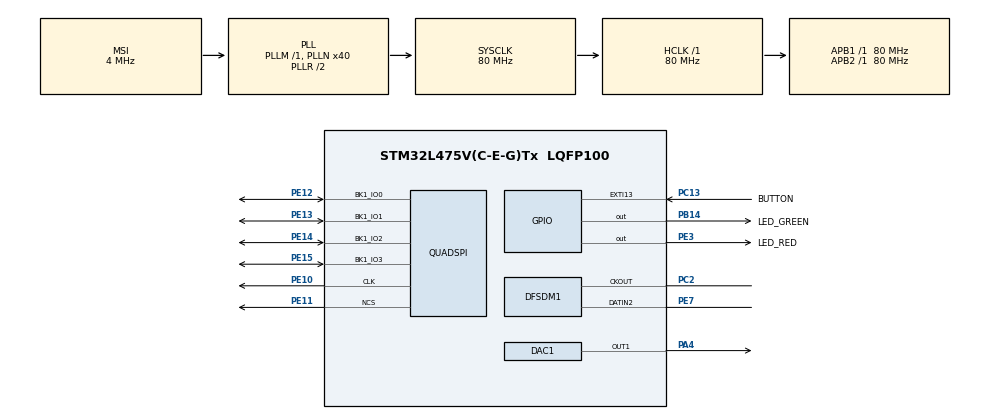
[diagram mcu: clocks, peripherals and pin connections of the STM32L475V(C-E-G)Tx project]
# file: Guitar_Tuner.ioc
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DAC1.DAC_Trigger-DAC_OUT1=DAC_TRIGGER_T2_TRGO
DFSDM1.Divider=100
DFSDM1.DmaMode_reg_FIL0=ENABLE
DFSDM1.FastMode_reg_FIL0=ENABLE
DFSDM1.Filter_regChannel_FIL0=DFSDM_CHANNEL_2
DFSDM1.Fosr_FIL0=80
DFSDM1.SincOrder_FIL0=DFSDM_FILTER_SINC3_ORDER
Dma.DAC_CH1.0.Direction=DMA_MEMORY_TO_PERIPH
Dma.DAC_CH1.0.Instance=DMA1_Channel3
Dma.DAC_CH1.0.MemDataAlignment=DMA_MDATAALIGN_HALFWORD
Dma.DAC_CH1.0.MemInc=DMA_MINC_ENABLE
Dma.DAC_CH1.0.Mode=DMA_CIRCULAR
Dma.DAC_CH1.0.PeriphDataAlignment=DMA_PDATAALIGN_HALFWORD
Dma.DAC_CH1.0.PeriphInc=DMA_PINC_DISABLE
Dma.DAC_CH1.0.Priority=DMA_PRIORITY_HIGH
Dma.DFSDM1_FLT0.1.Direction=DMA_PERIPH_TO_MEMORY
Dma.DFSDM1_FLT0.1.Instance=DMA1_Channel4
Dma.DFSDM1_FLT0.1.MemDataAlignment=DMA_MDATAALIGN_WORD
Dma.DFSDM1_FLT0.1.MemInc=DMA_MINC_ENABLE
Dma.DFSDM1_FLT0.1.Mode=DMA_NORMAL
Dma.DFSDM1_FLT0.1.PeriphDataAlignment=DMA_PDATAALIGN_WORD
Dma.DFSDM1_FLT0.1.PeriphInc=DMA_PINC_DISABLE
Dma.DFSDM1_FLT0.1.Priority=DMA_PRIORITY_HIGH
Dma.Request0=DAC_CH1
Dma.Request1=DFSDM1_FLT0
Mcu.Family=STM32L4
Mcu.Name=STM32L475V(C-E-G)Tx
Mcu.Package=LQFP100
NVIC.DMA1_Channel3_IRQn=true\:0\:0\:false\:false\:true\:false\:true
NVIC.DMA1_Channel4_IRQn=true\:0\:0\:false\:false\:true\:false\:true
NVIC.EXTI15_10_IRQn=true\:0\:0\:false\:false\:true\:true\:true
NVIC.PriorityGroup=NVIC_PRIORITYGROUP_4
NVIC.TIM2_IRQn=true\:0\:0\:false\:false\:true\:true\:true
PA13\ (JTMS-SWDIO).Signal=SYS_JTMS-SWDIO
PA4.Signal=COMP_DAC11_group
PB14.GPIO_Label=LED_GREEN
PB14.Signal=GPIO_Output
PB3\ (JTDO-TRACESWO).Signal=SYS_JTDO-SWO
PC13.GPIO_Label=BUTTON
PC13.Signal=GPXTI13
PC2.Signal=S_CKOUTDFSDM1
PE10.Mode=Single Bank
PE10.Signal=QUADSPI_CLK
PE11.Mode=Single Bank
PE11.Signal=QUADSPI_NCS
PE12.Mode=Single Bank
PE12.Signal=QUADSPI_BK1_IO0
PE13.Mode=Single Bank
PE13.Signal=QUADSPI_BK1_IO1
PE14.Mode=Single Bank
PE14.Signal=QUADSPI_BK1_IO2
PE15.Mode=Single Bank
PE15.Signal=QUADSPI_BK1_IO3
PE3.GPIO_Label=LED_RED
PE3.Signal=GPIO_Output
PE7.Signal=S_DATAIN2DFSDM1
ProjectManager.HeapSize=0x200
ProjectManager.StackSize=0x400
ProjectManager.TargetToolchain=STM32CubeIDE
RCC.ADCFreq_Value=48000000
RCC.AHBFreq_Value=80000000
RCC.APB1Freq_Value=80000000
RCC.APB1TimFreq_Value=80000000
RCC.APB2Freq_Value=80000000
RCC.APB2TimFreq_Value=80000000
RCC.CortexFreq_Value=80000000
RCC.DFSDMCLockSelection=RCC_DFSDM1CLKSOURCE_SYSCLK
RCC.HCLKFreq_Value=80000000
RCC.HSE_VALUE=8000000
RCC.HSI_VALUE=16000000
RCC.LSE_VALUE=32768
RCC.MSI_VALUE=4000000
RCC.PLLN=40
RCC.PLLSAI1N=24
RCC.SYSCLKFreq_VALUE=80000000
RCC.SYSCLKSource=RCC_SYSCLKSOURCE_PLLCLK
RCC.USBFreq_Value=48000000
RCC.VCOOutputFreq_Value=160000000
SH.COMP_DAC11_group.0=DAC1_OUT1,DAC_OUT1
SH.S_CKOUTDFSDM1.0=DFSDM1_CKOUT,PDM_SPI_input_from_ch2_and_internal_clock
SH.S_CKOUTDFSDM1.1=DFSDM1_CKOUT,CKOUT
SH.S_DATAIN2DFSDM1.0=DFSDM1_DATIN2,PDM_SPI_input_from_ch2_and_internal_clock
TIM2.Period=1814
TIM2.TIM_MasterOutputTrigger=TIM_TRGO_UPDATE
VP_TIM2_VS_ClockSourceINT.Mode=Internal
board=B-L475E-IOT01A1

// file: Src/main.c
/* USER CODE BEGIN Header */
/**
  ******************************************************************************
  * @file           : main.c
  * @brief          : Main program body
  ******************************************************************************
  * @attention
  *
  * <h2><center>&copy; Copyright (c) 2021 STMicroelectronics.
  * All rights reserved.</center></h2>
  *
  * This software component is licensed by ST under BSD 3-Clause license,
  * the "License"; You may not use this file except in compliance with the
  * License. You may obtain a copy of the License at:
  *                        opensource.org/licenses/BSD-3-Clause
  *
  ******************************************************************************
  */
/* USER CODE END Header */
#include "main.h"

/* USER CODE BEGIN Includes */
#include "stm32l475e_iot01_qspi.h"
#define ARM_MATH_CM4
#include "arm_math.h"
#include "OPTIM.h"

/* USER CODE END Includes */

/* USER CODE BEGIN PD */
#define ITM_Port32(n) (*((volatile unsigned long *)(0xE0000000+4*n)))
/* USER CODE END PD */

DAC_HandleTypeDef hdac1;
DMA_HandleTypeDef hdma_dac_ch1;

DFSDM_Filter_HandleTypeDef hdfsdm1_filter0;
DFSDM_Channel_HandleTypeDef hdfsdm1_channel2;
DMA_HandleTypeDef hdma_dfsdm1_flt0;

QSPI_HandleTypeDef hqspi;

TIM_HandleTypeDef htim2;

/* USER CODE BEGIN PV */

// ---------------- IMPORTANT GLOBAL VARIABLES ------------------------------------------
uint16_t f_s_DAC = 44100; // HZ, sampling frequency for values TO the DAC SPEAKER
uint16_t f_s_mic = 10000; // Hz, sampling frequency for values FROM the DFSDM microphone

// states for game
uint8_t gameState = 0;			// 0: game init & generating tones, 1: playing tones for player/ waiting for player choice,
								// 2: recording from mic, 3: ready for DFT, 4: computing DFT and analysis, 5: report win/loss

#define numTones 8
#define micSamples 10000
float32_t frequencies[8] = {261.63, 293.66, 329.63, 349.23, 392.00, 440.00, 493.88, 523.25}; // C4, D4, E4, F4, G4, A4, B4, C5

uint32_t flashStartAddr = (uint32_t) 0x00000000;
uint16_t sineBuffer[22050]; // buffer in RAM to store 0.5s of wave values at a time during wave generation and to load DAC
uint32_t currentTone = 0;
uint32_t count1 = 0; //since notes are being played at 0.5s, when reading the notes, only change note after x amount counts, e.g change when count == 4, is 2 sec
uint32_t count2 = 0;
int32_t micBuffer[micSamples];
uint16_t counterLED = 0;
uint16_t counterLEDMax = 8820;	// for flashing every 0.2s with TIM2 which is at f=44.1kHz

// for DFT
uint32_t fft_buffer_size = 2048;
uint32_t fft_sampling_rate = 10000;
int frequency = 0;
struct str{
	float value;
	uint16_t index;
};
float allowedError = 0.2;

// other setup notes:
// BUTTON : blue push button
// LED_GREEN: active HIGH, so GPIO_SET turns it ON
// LED_RED: active LOW, so GPIO_RESET turns it ON
// DAC Speaker: f_s = 44.1kHz, circular DMA with half-word (takes 16-bit array inputs with 12 bit resolution). Use this to output tones for the user to choose from
// DFSDM mic: f_s = 10kHz, NORMAL DMA with word input (captures 32 bits of input from mic. We need to RSR by 20bits to scale to 12 bits then pass to FFT?)

/* USER CODE END PV */

void SystemClock_Config(void);
static void MX_GPIO_Init(void);
static void MX_DMA_Init(void);
static void MX_DAC1_Init(void);
static void MX_TIM2_Init(void);
static void MX_QUADSPI_Init(void);
static void MX_DFSDM1_Init(void);
/* USER CODE BEGIN PFP */
void readFirstHalfFromFlash(void);
void readSecondHalfFromFlash(void);
void showPlayerWon(void);
void showPlayerLost(void);
void get_frequency(void);
int cmp(const void *a, const void *b);

/* USER CODE END PFP */

/* USER CODE BEGIN 0 */
int cmp(const void *a, const void *b)
{
    struct str *a1 = (struct str *)a;
    struct str *a2 = (struct str *)b;
    if ((*a1).value > (*a2).value)
        return -1;
    else if ((*a1).value < (*a2).value)
        return 1;
    else
        return 0;
}

void get_frequency(void){
	uint32_t fft_sampling_rate = 2048;

	float mic_buffer_float[fft_buffer_size];
	for (uint16_t i = 0; i < fft_buffer_size; i++) {
		mic_buffer_float[i] = (micBuffer[i+fft_buffer_size]);
	}

	int frequency1 = 500;
	int amplitude1 = 100;
	int frequency2 = 123;
	int amplitude2 = 90;
	float ts = (float) 1/fft_sampling_rate;
	for (int j = 0; j < fft_buffer_size; j++){
		mic_buffer_float[j] = (amplitude1*(arm_sin_f32(2*M_PI*frequency1*ts*j)));
		mic_buffer_float[j] += (amplitude2*(arm_sin_f32(2*M_PI*frequency2*ts*j)));
	}

	float fft_buffer_out[fft_buffer_size];
	arm_rfft_fast_instance_f32 fft_handler;
	arm_rfft_fast_init_f32(&fft_handler, fft_buffer_size);
	arm_rfft_fast_f32(&fft_handler, mic_buffer_float, fft_buffer_out, 0);

	int max = -1;
	int max2 = -1;
	int max_index = 0;
	int max2_index = 0;
	int N = fft_buffer_size;

	int mean = 0;
	for (uint16_t i = 0; i < fft_buffer_size; i++) {
		mean += (micBuffer[i+fft_buffer_size]);
	}
	mean = mean /(int) fft_buffer_size;
	int dc_offset = 0; //(int)(20*log10f(mean))*(mean);

	int frequency_point = 0;
	int magnitudes[fft_buffer_size/2];

	for (int i=1; i<N; i=i+2) {

		int real = fft_buffer_out[i];
		int imag = fft_buffer_out[i+1];
		int magnitude = sqrt(real*real+imag*imag);
		magnitude = (int)(20*log10f(magnitude)) - dc_offset;
		if (magnitude<0) magnitude = 0;

		magnitudes[frequency_point] = magnitude;
		frequency_point ++;

	}

	ITM_Port32(31) = 1;
  	for (uint32_t i = 0; i < 1000; i++){
		for (int i = 0 ; i < N/2; i++){
			int mag = magnitudes[i];
			if (mag > max2){
				max2_index = i;
				max2 = mag;
			}
//			if (magnitude < max && magnitude > max2){
//				max2_index = frequency_point;
//				max2 = magnitude;
//			}
		}
  	}
  	ITM_Port32(31) = 2;

  	for (uint32_t i = 0; i < 1000; i++)
  		asmMax(&magnitudes, N/2, &max, &max_index);

  	ITM_Port32(31) = 3;

	float T = fft_buffer_size / fft_sampling_rate;
	float frequencies[N/2];
	for (int i = 0 ; i < N/2 ; i ++){
		frequencies[i] = (float) i / T;
	}

	float max_f  = frequencies[max_index];
	float max2_f = frequencies[max2_index];

	frequency = max_f;
}

/* USER CODE END 0 */

int main(void)
{

  /* MCU Configuration--------------------------------------------------------*/

  /* Reset of all peripherals, Initializes the Flash interface and the Systick. */
  HAL_Init();

  /* Configure the system clock */
  SystemClock_Config();

  /* Initialize all configured peripherals */
  MX_GPIO_Init();
  MX_DMA_Init();
  MX_DFSDM1_Init();
  MX_DAC1_Init();
  MX_TIM2_Init();
  MX_QUADSPI_Init();

  /* USER CODE BEGIN 2 */

  // -------------- Initial stage: GAME SETUP ---------------------------------

  // red LED is initialized as ON (active low), so reset it back to OFF
  HAL_GPIO_WritePin(LED_RED_GPIO_Port, LED_RED_Pin, GPIO_PIN_SET);

  // start TIM2 with global interrupts enabled
  	HAL_TIM_Base_Start_IT(&htim2);

  	// initialize hqspi flash
  	  if (BSP_QSPI_Init() != QSPI_OK) {
  		  Error_Handler();
  	  }

  	  // generate full octave (C4 to C5)

  	  uint16_t maxVal = (uint16_t) 4095 * 2 / 3;			// 12 bit resolution has range [0, 4095], we scale this to 2/3 of the range
  	  uint16_t amplitude = maxVal/2;
  	  float32_t f, omega;

  	  // erase all blocks in flash that we need
  	  uint32_t sizeNeeded = numTones * f_s_DAC; // Each block is 64kB. we need to store 8 tones * (44100/2) samples per tone * 2bytes/sample)
  	  for (uint32_t i = 0; i < sizeNeeded; i += 64000) {
  		  if (BSP_QSPI_Erase_Block(flashStartAddr + i) != QSPI_OK) {
  			  Error_Handler();
  		  }
  	  }

  	  // create 0.5s of each tone in RAM buffer and write to flash
  	  for (uint8_t i = 0; i < numTones; i++) {
  		  omega = 2 * 3.14159265 * (frequencies[i]/f_s_DAC); 		// omega = 2pi*f_rel where f_rel = f_wave / f_sampling
  		  for(uint16_t counter = 0; counter < f_s_DAC/2 ; counter++) {
  			  sineBuffer[counter] = (uint16_t) (amplitude * (arm_sin_f32(omega*counter) + 1));
  		  }

  		  	  // write tone to flash at the appropriate address
  			  // note: size for entire 0.5seconds is (f_s/2) samples x 2 bytes per sample = f_sample bytes
  			  // so, we increment flashStartAddr by i*f_s each time
  		  if (BSP_QSPI_Write((uint8_t *) sineBuffer, (uint32_t) flashStartAddr + i*f_s_DAC, sizeof(sineBuffer)) != QSPI_OK) {
  			  Error_Handler();
  		  }
  	  }

  	  // --------- 1st stage: play tones for player to choose from --------------
  	  // start DAC with first values from flash
  	  gameState = 1;
  	  readFirstHalfFromFlash();
  	  HAL_DAC_Start_DMA(&hdac1, DAC_CHANNEL_1, sineBuffer, f_s_DAC/2, DAC_ALIGN_12B_R);

  /* USER CODE END 2 */

  /* Infinite loop */
  /* USER CODE BEGIN WHILE */
  while (1)
  {

	  // check if we are ready for DFT conversion
	  if (gameState == 3) {
		  // start DFT Conversion
		  gameState = 4;

		  // NOTE: this is to do DFT. however if we run it, the RAM buffers dont work anymore and we cannot read from Flash. need fix.
		  get_frequency();

		  // DFT is complete
		  gameState = 5;

	  } else if (gameState == 5) {
		  // once DFT is complete, check if player has won or lost depending on the frequency error
		  float targetFrequency = frequencies[(int) (currentTone / (f_s_DAC/2))];
		  int lowerBound =  (int) ((1.0-allowedError)*targetFrequency);
		  int higherBound = (int) ((1.0+allowedError)*targetFrequency);

		  if (frequency < higherBound && frequency > lowerBound) {
			  showPlayerWon();
		  } else {
			  showPlayerLost();
		  }

		  // change state to game complete
		  gameState = 6;

	  }

    /* USER CODE END WHILE */

  }
}

void SystemClock_Config(void)
{
  RCC_OscInitTypeDef RCC_OscInitStruct = {0};
  RCC_ClkInitTypeDef RCC_ClkInitStruct = {0};

  /** Configure the main internal regulator output voltage
  */
  if (HAL_PWREx_ControlVoltageScaling(PWR_REGULATOR_VOLTAGE_SCALE1) != HAL_OK)
  {
    Error_Handler();
  }
  /** Initializes the RCC Oscillators according to the specified parameters
  * in the RCC_OscInitTypeDef structure.
  */
  RCC_OscInitStruct.OscillatorType = RCC_OSCILLATORTYPE_MSI;
  RCC_OscInitStruct.MSIState = RCC_MSI_ON;
  RCC_OscInitStruct.MSICalibrationValue = 0;
  RCC_OscInitStruct.MSIClockRange = RCC_MSIRANGE_6;
  RCC_OscInitStruct.PLL.PLLState = RCC_PLL_ON;
  RCC_OscInitStruct.PLL.PLLSource = RCC_PLLSOURCE_MSI;
  RCC_OscInitStruct.PLL.PLLM = 1;
  RCC_OscInitStruct.PLL.PLLN = 40;
  RCC_OscInitStruct.PLL.PLLP = RCC_PLLP_DIV7;
  RCC_OscInitStruct.PLL.PLLQ = RCC_PLLQ_DIV2;
  RCC_OscInitStruct.PLL.PLLR = RCC_PLLR_DIV2;
  if (HAL_RCC_OscConfig(&RCC_OscInitStruct) != HAL_OK)
  {
    Error_Handler();
  }
  /** Initializes the CPU, AHB and APB buses clocks
  */
  RCC_ClkInitStruct.ClockType = RCC_CLOCKTYPE_HCLK|RCC_CLOCKTYPE_SYSCLK
                              |RCC_CLOCKTYPE_PCLK1|RCC_CLOCKTYPE_PCLK2;
  RCC_ClkInitStruct.SYSCLKSource = RCC_SYSCLKSOURCE_PLLCLK;
  RCC_ClkInitStruct.AHBCLKDivider = RCC_SYSCLK_DIV1;
  RCC_ClkInitStruct.APB1CLKDivider = RCC_HCLK_DIV1;
  RCC_ClkInitStruct.APB2CLKDivider = RCC_HCLK_DIV1;

  if (HAL_RCC_ClockConfig(&RCC_ClkInitStruct, FLASH_LATENCY_4) != HAL_OK)
  {
    Error_Handler();
  }
}

static void MX_DAC1_Init(void)
{

  DAC_ChannelConfTypeDef sConfig = {0};

  /** DAC Initialization
  */
  hdac1.Instance = DAC1;
  if (HAL_DAC_Init(&hdac1) != HAL_OK)
  {
    Error_Handler();
  }
  /** DAC channel OUT1 config
  */
  sConfig.DAC_SampleAndHold = DAC_SAMPLEANDHOLD_DISABLE;
  sConfig.DAC_Trigger = DAC_TRIGGER_T2_TRGO;
  sConfig.DAC_OutputBuffer = DAC_OUTPUTBUFFER_ENABLE;
  sConfig.DAC_ConnectOnChipPeripheral = DAC_CHIPCONNECT_DISABLE;
  sConfig.DAC_UserTrimming = DAC_TRIMMING_FACTORY;
  if (HAL_DAC_ConfigChannel(&hdac1, &sConfig, DAC_CHANNEL_1) != HAL_OK)
  {
    Error_Handler();
  }

}

static void MX_DFSDM1_Init(void)
{

  hdfsdm1_filter0.Instance = DFSDM1_Filter0;
  hdfsdm1_filter0.Init.RegularParam.Trigger = DFSDM_FILTER_SW_TRIGGER;
  hdfsdm1_filter0.Init.RegularParam.FastMode = ENABLE;
  hdfsdm1_filter0.Init.RegularParam.DmaMode = ENABLE;
  hdfsdm1_filter0.Init.FilterParam.SincOrder = DFSDM_FILTER_SINC3_ORDER;
  hdfsdm1_filter0.Init.FilterParam.Oversampling = 100;
  hdfsdm1_filter0.Init.FilterParam.IntOversampling = 1;
  if (HAL_DFSDM_FilterInit(&hdfsdm1_filter0) != HAL_OK)
  {
    Error_Handler();
  }
  hdfsdm1_channel2.Instance = DFSDM1_Channel2;
  hdfsdm1_channel2.Init.OutputClock.Activation = ENABLE;
  hdfsdm1_channel2.Init.OutputClock.Selection = DFSDM_CHANNEL_OUTPUT_CLOCK_SYSTEM;
  hdfsdm1_channel2.Init.OutputClock.Divider = 80;
  hdfsdm1_channel2.Init.Input.Multiplexer = DFSDM_CHANNEL_EXTERNAL_INPUTS;
  hdfsdm1_channel2.Init.Input.DataPacking = DFSDM_CHANNEL_STANDARD_MODE;
  hdfsdm1_channel2.Init.Input.Pins = DFSDM_CHANNEL_SAME_CHANNEL_PINS;
  hdfsdm1_channel2.Init.SerialInterface.Type = DFSDM_CHANNEL_SPI_RISING;
  hdfsdm1_channel2.Init.SerialInterface.SpiClock = DFSDM_CHANNEL_SPI_CLOCK_INTERNAL;
  hdfsdm1_channel2.Init.Awd.FilterOrder = DFSDM_CHANNEL_FASTSINC_ORDER;
  hdfsdm1_channel2.Init.Awd.Oversampling = 1;
  hdfsdm1_channel2.Init.Offset = 0;
  hdfsdm1_channel2.Init.RightBitShift = 0x00;
  if (HAL_DFSDM_ChannelInit(&hdfsdm1_channel2) != HAL_OK)
  {
    Error_Handler();
  }
  if (HAL_DFSDM_FilterConfigRegChannel(&hdfsdm1_filter0, DFSDM_CHANNEL_2, DFSDM_CONTINUOUS_CONV_ON) != HAL_OK)
  {
    Error_Handler();
  }

}

static void MX_QUADSPI_Init(void)
{

  /* QUADSPI parameter configuration*/
  hqspi.Instance = QUADSPI;
  hqspi.Init.ClockPrescaler = 255;
  hqspi.Init.FifoThreshold = 1;
  hqspi.Init.SampleShifting = QSPI_SAMPLE_SHIFTING_NONE;
  hqspi.Init.FlashSize = 1;
  hqspi.Init.ChipSelectHighTime = QSPI_CS_HIGH_TIME_1_CYCLE;
  hqspi.Init.ClockMode = QSPI_CLOCK_MODE_0;
  if (HAL_QSPI_Init(&hqspi) != HAL_OK)
  {
    Error_Handler();
  }

}

static void MX_TIM2_Init(void)
{

  TIM_ClockConfigTypeDef sClockSourceConfig = {0};
  TIM_MasterConfigTypeDef sMasterConfig = {0};

  htim2.Instance = TIM2;
  htim2.Init.Prescaler = 0;
  htim2.Init.CounterMode = TIM_COUNTERMODE_UP;
  htim2.Init.Period = 1814;
  htim2.Init.ClockDivision = TIM_CLOCKDIVISION_DIV1;
  htim2.Init.AutoReloadPreload = TIM_AUTORELOAD_PRELOAD_DISABLE;
  if (HAL_TIM_Base_Init(&htim2) != HAL_OK)
  {
    Error_Handler();
  }
  sClockSourceConfig.ClockSource = TIM_CLOCKSOURCE_INTERNAL;
  if (HAL_TIM_ConfigClockSource(&htim2, &sClockSourceConfig) != HAL_OK)
  {
    Error_Handler();
  }
  sMasterConfig.MasterOutputTrigger = TIM_TRGO_UPDATE;
  sMasterConfig.MasterSlaveMode = TIM_MASTERSLAVEMODE_DISABLE;
  if (HAL_TIMEx_MasterConfigSynchronization(&htim2, &sMasterConfig) != HAL_OK)
  {
    Error_Handler();
  }

}

static void MX_DMA_Init(void)
{

  /* DMA controller clock enable */
  __HAL_RCC_DMA1_CLK_ENABLE();

  /* DMA interrupt init */
  /* DMA1_Channel3_IRQn interrupt configuration */
  HAL_NVIC_SetPriority(DMA1_Channel3_IRQn, 0, 0);
  HAL_NVIC_EnableIRQ(DMA1_Channel3_IRQn);
  /* DMA1_Channel4_IRQn interrupt configuration */
  HAL_NVIC_SetPriority(DMA1_Channel4_IRQn, 0, 0);
  HAL_NVIC_EnableIRQ(DMA1_Channel4_IRQn);

}

static void MX_GPIO_Init(void)
{
  GPIO_InitTypeDef GPIO_InitStruct = {0};

  /* GPIO Ports Clock Enable */
  __HAL_RCC_GPIOE_CLK_ENABLE();
  __HAL_RCC_GPIOC_CLK_ENABLE();
  __HAL_RCC_GPIOA_CLK_ENABLE();
  __HAL_RCC_GPIOB_CLK_ENABLE();

  /*Configure GPIO pin Output Level */
  HAL_GPIO_WritePin(LED_RED_GPIO_Port, LED_RED_Pin, GPIO_PIN_RESET);

  /*Configure GPIO pin Output Level */
  HAL_GPIO_WritePin(LED_GREEN_GPIO_Port, LED_GREEN_Pin, GPIO_PIN_RESET);

  /*Configure GPIO pin : LED_RED_Pin */
  GPIO_InitStruct.Pin = LED_RED_Pin;
  GPIO_InitStruct.Mode = GPIO_MODE_OUTPUT_PP;
  GPIO_InitStruct.Pull = GPIO_NOPULL;
  GPIO_InitStruct.Speed = GPIO_SPEED_FREQ_LOW;
  HAL_GPIO_Init(LED_RED_GPIO_Port, &GPIO_InitStruct);

  /*Configure GPIO pin : BUTTON_Pin */
  GPIO_InitStruct.Pin = BUTTON_Pin;
  GPIO_InitStruct.Mode = GPIO_MODE_IT_RISING;
  GPIO_InitStruct.Pull = GPIO_NOPULL;
  HAL_GPIO_Init(BUTTON_GPIO_Port, &GPIO_InitStruct);

  /*Configure GPIO pin : LED_GREEN_Pin */
  GPIO_InitStruct.Pin = LED_GREEN_Pin;
  GPIO_InitStruct.Mode = GPIO_MODE_OUTPUT_PP;
  GPIO_InitStruct.Pull = GPIO_NOPULL;
  GPIO_InitStruct.Speed = GPIO_SPEED_FREQ_LOW;
  HAL_GPIO_Init(LED_GREEN_GPIO_Port, &GPIO_InitStruct);

  /* EXTI interrupt init*/
  HAL_NVIC_SetPriority(EXTI15_10_IRQn, 0, 0);
  HAL_NVIC_EnableIRQ(EXTI15_10_IRQn);

}

/* USER CODE BEGIN 4 */

/**
 * @brief Interrupt handler when half of DAC array has been converted
 * @retval None
 * @author Helen
 **/
void HAL_DAC_ConvHalfCpltCallbackCh1(DAC_HandleTypeDef *hdac) {
	// first half has been converted
	// read new wave first half and put into buffer's first half
	if (gameState < 5) { // not 5 or 6
		readFirstHalfFromFlash();
	}
}

/**
 * @brief Interrupt handler when all of DAC array has been converted
 * @retval None
 * @author Helen
 **/
void HAL_DAC_ConvCpltCallbackCh1(DAC_HandleTypeDef *hdac) {
	// second half of array has been converted
	if (gameState < 5) { // not 5 or 6
		readSecondHalfFromFlash();
	} else if (gameState >= 5){ // 5 or 6
		// done playing winning/losing tone, game is finished
		HAL_DAC_Stop_DMA(&hdac1, DAC_CHANNEL_1);

		// NOTE: do NOT reset gameState
	}

}

/**
 * @brief Read next half array from flash into first half of sineBuffer in RAM
 * @retval None
 * @author Helen
 **/
void readFirstHalfFromFlash(void){
	if (BSP_QSPI_Read((uint8_t *) sineBuffer, (uint32_t) flashStartAddr + currentTone, sizeof(sineBuffer) / 2) != QSPI_OK) {
		Error_Handler();
	}
	count1 += 1;
	//since count is 4 here, this means 0.5*4 == 2 seconds, if count == 6, 0.5*6 = 3 seconds, etc.
	if (count1 == 4) {
		currentTone += f_s_DAC/2;
			if (currentTone >= numTones * f_s_DAC) {
				currentTone = 0;
			}
		count1 = 0;
	}
}

/**
 * @brief Read next half array from flash into second half of sineBuffer in RAM
 * @retval None
 * @author Helen
 **/
void readSecondHalfFromFlash(void) {
	if (BSP_QSPI_Read((uint8_t *) sineBuffer + f_s_DAC/2, (uint32_t) flashStartAddr + currentTone, sizeof(sineBuffer) / 2) != QSPI_OK) {
		Error_Handler();
	}
	count2 += 1;
	//since count is 4 here, this means 0.5*4 == 2 seconds, if count == 6, 0.5*6 = 3 seconds, etc.
	if (count2 == 4){
		currentTone += f_s_DAC/2;
			if (currentTone >= numTones * f_s_DAC) {
				currentTone = 0;
			}
		count2 = 0;
	}
}

/**
 * @brief Interrupt handler when DFSDM finish converting all values
 * @retval None
 * @author Krishna
 **/
void HAL_DFSDM_FilterRegConvCpltCallback (DFSDM_Filter_HandleTypeDef * hdfsdm_filter) {
	if (hdfsdm_filter == &hdfsdm1_filter0) {
		// stop recording
		HAL_DFSDM_FilterRegularStop_DMA(&hdfsdm1_filter0);
		// turn off flashing green light
		HAL_GPIO_WritePin(LED_GREEN_GPIO_Port, LED_GREEN_Pin, GPIO_PIN_RESET);

		//Filter 8 MSB by shifting by 8 to discard channel info, and by 16 more for scaling
	    for(uint16_t i = 0; i < micSamples; i++){
	    	micBuffer[i] = (micBuffer[i] >> 20);

	    	// not needed anymore: store converted recording in first 10k elements of sineBuffer
	    	//sineBuffer[i] = (uint16_t) (micBuffer[i]);
	    }

	    // Test: playback of recording (note SPEAKER IS AT A WAY HIGHER SAMPLING FREQUENCY, we want to play this back at 10kHz sampling frequency...)
	    //HAL_DAC_Start_DMA(&hdac1, DAC_CHANNEL_1, sineBuffer, micSamples, DAC_ALIGN_12B_R);

	    // --------- 3rd stage: ready for DFT conversion --------------
	    // TODO: HAND OFF TO THE DFT CONVERSION
	    gameState = 3;
	}
}

/**
 * @brief Interrupt handler for blue push button. Player pushes this when they have chosen their tone and to start recording
 * @retval None
 * @author Krishna
 */
void HAL_GPIO_EXTI_Callback (uint16_t GPIO_Pin) {
	if (GPIO_Pin == BUTTON_Pin) {
		// if we were playing the tones for the player to choose from
		if (gameState == 1) {
			// Stop playing tones
			HAL_DAC_Stop_DMA(&hdac1, DAC_CHANNEL_1);

			// --------- 2nd stage: start recording  --------------
			gameState = 2;
			HAL_DFSDM_FilterRegularStart_DMA(&hdfsdm1_filter0, micBuffer, micSamples);
		}

		// if we are ready to reset the game
		else if(gameState == 6) {
			// turn off LEDs
			HAL_GPIO_WritePin(LED_RED_GPIO_Port, LED_RED_Pin, GPIO_PIN_SET);
			HAL_GPIO_WritePin(LED_GREEN_GPIO_Port, LED_GREEN_Pin, GPIO_PIN_RESET);

			// reset the variables
			currentTone = 0;
			count1 = 0;
			count2 = 0;
			frequency = 0;

			// restart the game
			gameState = 1;
			readFirstHalfFromFlash();
			HAL_DAC_Start_DMA(&hdac1, DAC_CHANNEL_1, sineBuffer, f_s_DAC/2, DAC_ALIGN_12B_R);
		}

	}
}

/**
 * @brief Plays a tone to signify that the player won
 * @retval None
 * @author Helen
 */
void showPlayerWon (void) {
	// show GREEN LED to show that player won
	HAL_GPIO_WritePin(LED_GREEN_GPIO_Port, LED_GREEN_Pin, GPIO_PIN_SET);

//	// read winning tone into sineBuffer which stores 0.5 seconds of sound in 22050 samples
//	// c4 for 1/3 of the 0.5s
//	if (BSP_QSPI_Read((uint8_t *) sineBuffer, (uint32_t) flashStartAddr, sizeof(sineBuffer) /3 ) != QSPI_OK) {
//		Error_Handler();
//	}
//
//	// c5 for 2/3 of the 0.5s
//	if (BSP_QSPI_Read((uint8_t *) sineBuffer + f_s_DAC/3, (uint32_t) flashStartAddr + 7*f_s_DAC, 2 * sizeof(sineBuffer) / 3) != QSPI_OK) {
//		Error_Handler();
//	}
//
//	//play winning tone
//	HAL_DAC_Start_DMA(&hdac1, DAC_CHANNEL_1, sineBuffer, f_s_DAC/2, DAC_ALIGN_12B_R);
}

/**
 * @brief Plays a tone to signify that the player lost
 * @retval None
 * @author Helen
 */
void showPlayerLost (void) {
	// show RED LED to show that player won
	HAL_GPIO_WritePin(LED_RED_GPIO_Port, LED_RED_Pin, GPIO_PIN_RESET);

//	// read losing tone into sineBuffer which stores 0.5 seconds of sound in 22050 samples
//	// c5 for 1/3 of the 0.5s
//	if (BSP_QSPI_Read((uint8_t *) sineBuffer, (uint32_t) flashStartAddr + 7*f_s_DAC, sizeof(sineBuffer) /3 ) != QSPI_OK) {
//		Error_Handler();
//	}
//
//	// c5 for 2/3 of the 0.5s
//	if (BSP_QSPI_Read((uint8_t *) sineBuffer + f_s_DAC/3, (uint32_t) flashStartAddr,  2 * sizeof(sineBuffer) / 3) != QSPI_OK) {
//		Error_Handler();
//	}

//	//play losing tone
//	HAL_DAC_Start_DMA(&hdac1, DAC_CHANNEL_1, sineBuffer, f_s_DAC/2, DAC_ALIGN_12B_R);
}

/**
 * @brief Interrupt handler for TIM2 to trigger LED changes depending on game state
 * @retval None
 * @author Helen
 **/
void HAL_TIM_PeriodElapsedCallback(TIM_HandleTypeDef *htim) {
	// verify timer is htim2
	if (htim == &htim2) {
		// flash LED if needed (only during mic recording)
		if (gameState == 2) {
			if (counterLED == counterLEDMax) {
				counterLED = 0;
				HAL_GPIO_TogglePin(LED_GREEN_GPIO_Port, LED_GREEN_Pin);
			} else {
				counterLED++;
			}
		}
	}
}

/* USER CODE END 4 */

void Error_Handler(void)
{
  /* USER CODE BEGIN Error_Handler_Debug */
  /* User can add his own implementation to report the HAL error return state */
  __disable_irq();

  // turn on red LED and halt debugger with breakpoint
  HAL_GPIO_WritePin(LED_RED_GPIO_Port, LED_RED_Pin, GPIO_PIN_RESET);
  __BKPT();

//  while (1)
//  {
//  }
  /* USER CODE END Error_Handler_Debug */
}

/************************ (C) COPYRIGHT STMicroelectronics *****END OF FILE****/
